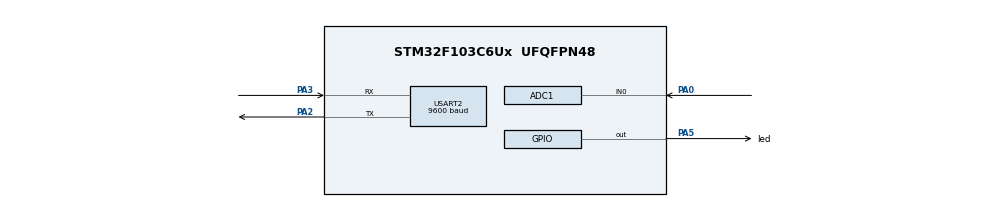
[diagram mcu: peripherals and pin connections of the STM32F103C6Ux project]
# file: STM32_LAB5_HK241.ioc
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ADC1.Channel-1\#ChannelRegularConversion=ADC_CHANNEL_0
ADC1.ContinuousConvMode=ENABLE
ADC1.NbrOfConversionFlag=1
ADC1.Rank-1\#ChannelRegularConversion=1
ADC1.SamplingTime-1\#ChannelRegularConversion=ADC_SAMPLETIME_1CYCLE_5
ADC1.master=1
Mcu.Family=STM32F1
Mcu.Name=STM32F103C6Ux
Mcu.Package=UFQFPN48
NVIC.PriorityGroup=NVIC_PRIORITYGROUP_4
NVIC.USART2_IRQn=true\:0\:0\:false\:false\:true\:true\:true\:true
PA0-WKUP.Signal=ADCx_IN0
PA2.Mode=Asynchronous
PA2.Signal=USART2_TX
PA3.Mode=Asynchronous
PA3.Signal=USART2_RX
PA5.GPIO_Label=led
PA5.Signal=GPIO_Output
ProjectManager.HeapSize=0x200
ProjectManager.StackSize=0x400
ProjectManager.TargetToolchain=STM32CubeIDE
RCC.APB1Freq_Value=8000000
RCC.APB2Freq_Value=8000000
SH.ADCx_IN0.0=ADC1_IN0,IN0
USART2.BaudRate=9600
USART2.VirtualMode=VM_ASYNC
VP_SYS_VS_ND.Mode=No_Debug
board=custom

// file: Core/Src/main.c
/* USER CODE BEGIN Header */
/**
  ******************************************************************************
  * @file           : main.c
  * @brief          : Main program body
  ******************************************************************************
  * @attention
  *
  * Copyright (c) 2024 STMicroelectronics.
  * All rights reserved.
  *
  * This software is licensed under terms that can be found in the LICENSE file
  * in the root directory of this software component.
  * If no LICENSE file comes with this software, it is provided AS-IS.
  *
  ******************************************************************************
  */
/* USER CODE END Header */
#include "main.h"

/* USER CODE BEGIN Includes */
#include <stdlib.h>
#include "global.h"
#include "command_parser_fsm.h"
#include "uart_communication_fsm.h"
/* USER CODE END Includes */

ADC_HandleTypeDef hadc1;

UART_HandleTypeDef huart2;

void SystemClock_Config(void);
static void MX_GPIO_Init(void);
static void MX_ADC1_Init(void);
static void MX_USART2_UART_Init(void);

/* USER CODE BEGIN 0 */
void reset_buffer() {
    memset(dynamic_buffer, 0, buffer_capacity);
    index_buffer = 0;
}

void init_buffer() {
    dynamic_buffer = (uint8_t*)malloc(buffer_capacity);
    reset_buffer();
}
void resize_buffer() {
    buffer_capacity *= 2; // Tăng gấp đôi dung lượng
    dynamic_buffer = (uint8_t*)realloc(dynamic_buffer, buffer_capacity);
}
void HAL_UART_RxCpltCallback ( UART_HandleTypeDef * huart ){
 if(huart -> Instance == USART2 ){
	 //HAL_UART_Transmit (& huart2 , &temp , 1, 50) ;
	 if(temp == '!'){
		 if(command_flag == 0)
		 {
		//index_buffer = 0;
			 //buffer [index_buffer ++] = temp ;
			 reset_buffer();
		 dynamic_buffer[index_buffer ++] = temp;
			 command_flag = 1;
		 }
	 } else {
		 //buffer [index_buffer ++] = temp ;
		 dynamic_buffer[index_buffer ++] = temp;
		 command_flag = 0;
	 }

	 //if( index_buffer == 30) index_buffer = 0;
	 if (index_buffer >= buffer_capacity) {
	     resize_buffer(); // Tăng kích thước buffer nếu cần
	 }
	 buffer_flag = 1;
	 HAL_UART_Receive_IT (& huart2 , &temp , 1);
  }
}

/* USER CODE END 0 */

int main(void)
{

  /* MCU Configuration--------------------------------------------------------*/

  /* Reset of all peripherals, Initializes the Flash interface and the Systick. */
  HAL_Init();

  /* Configure the system clock */
  SystemClock_Config();

  /* Initialize all configured peripherals */
  MX_GPIO_Init();
  MX_ADC1_Init();
  MX_USART2_UART_Init();
  /* USER CODE BEGIN 2 */
  HAL_UART_Receive_IT (& huart2 , &temp , 1);
  /* USER CODE END 2 */

  /* Infinite loop */
  /* USER CODE BEGIN WHILE */

  //char str[20];
  init_buffer();
  while (1)
  {
	  HAL_ADC_Start(&hadc1); // Bắt đầu chuyển đổi ADC
	    if (HAL_ADC_PollForConversion(&hadc1, HAL_MAX_DELAY) == HAL_OK) { // Chờ hoàn thành
	        ADC_value = HAL_ADC_GetValue(&hadc1); // Đọc giá trị ADC
	    }
	    HAL_ADC_Stop(&hadc1); // Dừng ADC nếu không cần dùng liên tục

	  if(buffer_flag == 1){
	command_parser_fsm();
	  buffer_flag = 0;
	  }
	  uart_communication_fsm();
    /* USER CODE END WHILE */

  }
}

void SystemClock_Config(void)
{
  RCC_OscInitTypeDef RCC_OscInitStruct = {0};
  RCC_ClkInitTypeDef RCC_ClkInitStruct = {0};
  RCC_PeriphCLKInitTypeDef PeriphClkInit = {0};

  /** Initializes the RCC Oscillators according to the specified parameters
  * in the RCC_OscInitTypeDef structure.
  */
  RCC_OscInitStruct.OscillatorType = RCC_OSCILLATORTYPE_HSI;
  RCC_OscInitStruct.HSIState = RCC_HSI_ON;
  RCC_OscInitStruct.HSICalibrationValue = RCC_HSICALIBRATION_DEFAULT;
  RCC_OscInitStruct.PLL.PLLState = RCC_PLL_NONE;
  if (HAL_RCC_OscConfig(&RCC_OscInitStruct) != HAL_OK)
  {
    Error_Handler();
  }

  /** Initializes the CPU, AHB and APB buses clocks
  */
  RCC_ClkInitStruct.ClockType = RCC_CLOCKTYPE_HCLK|RCC_CLOCKTYPE_SYSCLK
                              |RCC_CLOCKTYPE_PCLK1|RCC_CLOCKTYPE_PCLK2;
  RCC_ClkInitStruct.SYSCLKSource = RCC_SYSCLKSOURCE_HSI;
  RCC_ClkInitStruct.AHBCLKDivider = RCC_SYSCLK_DIV1;
  RCC_ClkInitStruct.APB1CLKDivider = RCC_HCLK_DIV1;
  RCC_ClkInitStruct.APB2CLKDivider = RCC_HCLK_DIV1;

  if (HAL_RCC_ClockConfig(&RCC_ClkInitStruct, FLASH_LATENCY_0) != HAL_OK)
  {
    Error_Handler();
  }
  PeriphClkInit.PeriphClockSelection = RCC_PERIPHCLK_ADC;
  PeriphClkInit.AdcClockSelection = RCC_ADCPCLK2_DIV2;
  if (HAL_RCCEx_PeriphCLKConfig(&PeriphClkInit) != HAL_OK)
  {
    Error_Handler();
  }
}

static void MX_ADC1_Init(void)
{

  ADC_ChannelConfTypeDef sConfig = {0};

  /** Common config
  */
  hadc1.Instance = ADC1;
  hadc1.Init.ScanConvMode = ADC_SCAN_DISABLE;
  hadc1.Init.ContinuousConvMode = ENABLE;
  hadc1.Init.DiscontinuousConvMode = DISABLE;
  hadc1.Init.ExternalTrigConv = ADC_SOFTWARE_START;
  hadc1.Init.DataAlign = ADC_DATAALIGN_RIGHT;
  hadc1.Init.NbrOfConversion = 1;
  if (HAL_ADC_Init(&hadc1) != HAL_OK)
  {
    Error_Handler();
  }

  /** Configure Regular Channel
  */
  sConfig.Channel = ADC_CHANNEL_0;
  sConfig.Rank = ADC_REGULAR_RANK_1;
  sConfig.SamplingTime = ADC_SAMPLETIME_1CYCLE_5;
  if (HAL_ADC_ConfigChannel(&hadc1, &sConfig) != HAL_OK)
  {
    Error_Handler();
  }

}

static void MX_USART2_UART_Init(void)
{

  huart2.Instance = USART2;
  huart2.Init.BaudRate = 9600;
  huart2.Init.WordLength = UART_WORDLENGTH_8B;
  huart2.Init.StopBits = UART_STOPBITS_1;
  huart2.Init.Parity = UART_PARITY_NONE;
  huart2.Init.Mode = UART_MODE_TX_RX;
  huart2.Init.HwFlowCtl = UART_HWCONTROL_NONE;
  huart2.Init.OverSampling = UART_OVERSAMPLING_16;
  if (HAL_UART_Init(&huart2) != HAL_OK)
  {
    Error_Handler();
  }

}

static void MX_GPIO_Init(void)
{
  GPIO_InitTypeDef GPIO_InitStruct = {0};

  /* GPIO Ports Clock Enable */
  __HAL_RCC_GPIOA_CLK_ENABLE();

  /*Configure GPIO pin Output Level */
  HAL_GPIO_WritePin(led_GPIO_Port, led_Pin, GPIO_PIN_RESET);

  /*Configure GPIO pin : led_Pin */
  GPIO_InitStruct.Pin = led_Pin;
  GPIO_InitStruct.Mode = GPIO_MODE_OUTPUT_PP;
  GPIO_InitStruct.Pull = GPIO_NOPULL;
  GPIO_InitStruct.Speed = GPIO_SPEED_FREQ_LOW;
  HAL_GPIO_Init(led_GPIO_Port, &GPIO_InitStruct);

}

void Error_Handler(void)
{
  __disable_irq();
  while (1)
  {
  }
}
